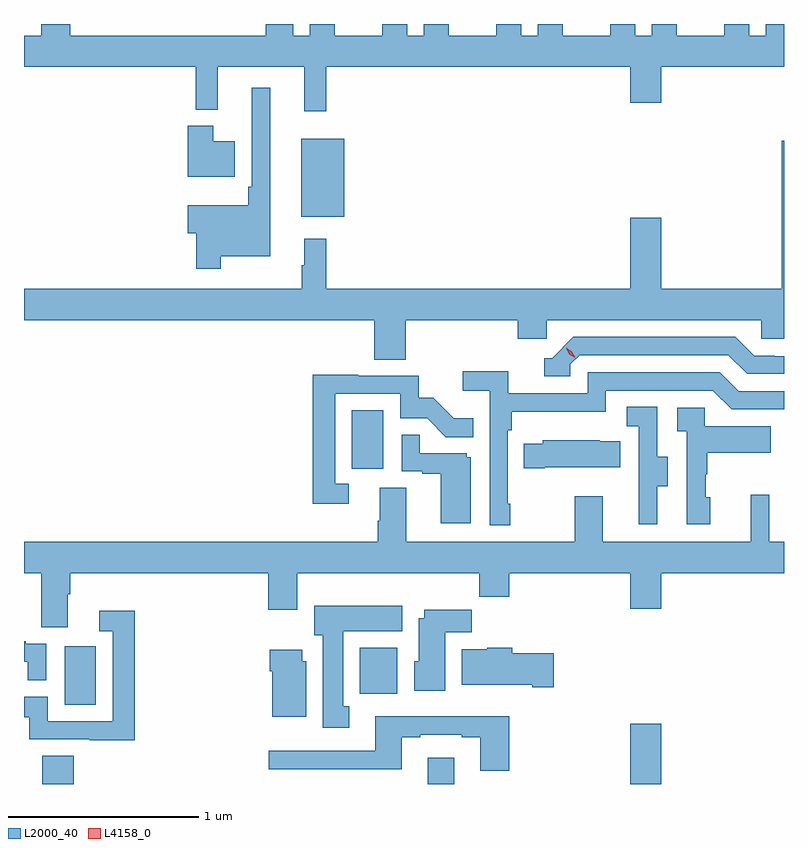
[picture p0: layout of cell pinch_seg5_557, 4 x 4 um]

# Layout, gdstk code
import gdstk
lib = gdstk.Library(unit=1e-6, precision=1e-09)
def R(c, l, rs):  # rectangles x0, y0, x1, y1
    for r in rs: c.add(gdstk.rectangle(r[:2], r[2:], *l))
def P(c, l, *ps):  # polygons
    for p in ps: c.add(gdstk.Polygon(p, *l))
L2000_40 = (2000, 40)
L4158_0 = (4158, 0)

pinch_seg5_557 = lib.new_cell('pinch_seg5_557')
R(pinch_seg5_557, L2000_40, [(977.099,850.322,977.264,850.472), (979.127,850.322,979.267,850.459), (980.192,850.322,980.356,850.639), (977.216,850.74,977.38,851.047), (978.77,850.796,978.967,851.038), (978.728,851.982,978.892,852.289), (978.461,853.307,978.688,853.717)])
P(pinch_seg5_557, L2000_40, [(978.593,854.096),(980.192,854.096),(980.192,853.908),(980.356,853.908),(980.356,854.096),(981.002,854.096),(981.002,854.322),(980.906,854.322),(980.906,854.26),(980.818,854.26),(980.818,854.322),(980.687,854.322),(980.687,854.26),(980.437,854.26),(980.437,854.322),(980.306,854.322),(980.306,854.26),(980.218,854.26),(980.218,854.322),(980.087,854.322),(980.087,854.26),(979.837,854.26),(979.837,854.322),(979.706,854.322),(979.706,854.26),(979.618,854.26),(979.618,854.322),(979.487,854.322),(979.487,854.26),(979.237,854.26),(979.237,854.322),(979.106,854.322),(979.106,854.26),(979.018,854.26),(979.018,854.322),(978.887,854.322),(978.887,854.26),(978.637,854.26),(978.637,854.322),(978.506,854.322),(978.506,854.26),(978.418,854.26),(978.418,854.322),(978.275,854.322),(978.275,854.26),(977.246,854.26),(977.246,854.322),(977.093,854.322),(977.093,854.26),(977.002,854.26),(977.002,854.096),(977.905,854.096),(977.905,853.871),(978.023,853.871),(978.023,854.096),(978.476,854.096),(978.476,853.863),(978.593,853.863)],
  [(978.037,853.1),(978.298,853.1),(978.298,853.987),(978.201,853.987),(978.201,853.465),(978.181,853.465),(978.181,853.369),(977.864,853.369),(977.864,853.222),(977.908,853.222),(977.908,853.035),(978.037,853.035)],
  [(978.112,853.705),(977.998,853.705),(977.998,853.786),(977.864,853.786),(977.864,853.517),(978.112,853.517)],
  [(979.01,852.764),(979.601,852.764),(979.601,852.666),(979.752,852.666),(979.752,852.764),(980.883,852.764),(980.883,852.666),(981.002,852.666),(981.002,853.708),(980.99,853.708),(980.99,852.928),(980.356,852.928),(980.356,853.303),(980.192,853.303),(980.192,852.928),(978.593,852.928),(978.593,853.192),(978.476,853.192),(978.476,853.052),(978.465,853.052),(978.465,852.928),(977.002,852.928),(977.002,852.764),(978.845,852.764),(978.845,852.556),(979.01,852.556)],
  [(979.878,852.531),(979.926,852.579),(980.709,852.579),(980.808,852.48),(981.002,852.48),(981.002,852.573),(980.952,852.573),(980.952,852.576),(980.845,852.576),(980.746,852.675),(979.893,852.675),(979.782,852.564),(979.739,852.564),(979.739,852.468),(979.878,852.468)],
  [(979.561,851.797),(979.548,851.797),(979.548,852.185),(979.568,852.185),(979.568,852.281),(980.064,852.281),(980.064,852.393),(980.628,852.393),(980.727,852.294),(981.002,852.294),(981.002,852.39),(980.764,852.39),(980.665,852.489),(979.968,852.489),(979.968,852.378),(979.55,852.378),(979.55,852.494),(979.311,852.494),(979.311,852.392),(979.452,852.392),(979.452,851.685),(979.561,851.685)],
  [(978.712,851.901),(978.639,851.901),(978.639,852.375),(978.981,852.375),(978.981,852.246),(979.125,852.246),(979.223,852.148),(979.367,852.148),(979.367,852.247),(979.263,852.247),(979.156,852.354),(979.08,852.354),(979.08,852.471),(978.761,852.471),(978.761,852.476),(978.523,852.476),(978.523,851.796),(978.712,851.796)],
  [(980.335,851.89),(980.389,851.89),(980.389,852.045),(980.334,852.045),(980.334,852.308),(980.175,852.308),(980.175,852.205),(980.238,852.205),(980.238,851.901),(980.237,851.901),(980.237,851.688),(980.335,851.688)],
  [(980.614,851.832),(980.589,851.832),(980.589,851.951),(980.599,851.951),(980.599,852.065),(980.933,852.065),(980.933,852.205),(980.586,852.205),(980.586,852.303),(980.439,852.303),(980.439,852.179),(980.49,852.179),(980.49,851.688),(980.614,851.688)],
  [(979.354,852.042),(979.332,852.042),(979.332,852.063),(979.085,852.063),(979.085,852.161),(978.99,852.161),(978.99,851.967),(979.097,851.967),(979.097,851.955),(979.196,851.955),(979.196,851.694),(979.354,851.694)],
  [(979.744,851.99),(980.141,851.99),(980.141,852.127),(980.033,852.127),(980.033,852.13),(979.731,852.13),(979.731,852.112),(979.633,852.112),(979.633,851.983),(979.744,851.983)],
  [(977.233,851.32),(977.246,851.32),(977.246,851.432),(978.287,851.432),(978.287,851.238),(978.439,851.238),(978.439,851.432),(979.399,851.432),(979.399,851.308),(979.556,851.308),(979.556,851.432),(980.192,851.432),(980.192,851.244),(980.356,851.244),(980.356,851.432),(981.002,851.432),(981.002,851.596),(980.925,851.596),(980.925,851.845),(980.828,851.845),(980.828,851.596),(980.047,851.596),(980.047,851.836),(979.9,851.836),(979.9,851.596),(979.015,851.596),(979.015,851.882),(978.875,851.882),(978.875,851.708),(978.863,851.708),(978.863,851.596),(977.002,851.596),(977.002,851.432),(977.093,851.432),(977.093,851.146),(977.233,851.146)],
  [(978.715,850.73),(978.682,850.73),(978.682,851.126),(978.994,851.126),(978.994,851.26),(978.53,851.26),(978.53,851.106),(978.575,851.106),(978.575,850.617),(978.715,850.617)],
  [(979.219,851.12),(979.358,851.12),(979.358,851.239),(979.109,851.239),(979.109,851.194),(979.079,851.194),(979.079,850.968),(979.055,850.968),(979.055,850.814),(979.219,850.814)],
  [(977.585,851.233),(977.397,851.233),(977.397,851.127),(977.469,851.127),(977.469,850.653),(977.127,850.653),(977.127,850.782),(977.002,850.782),(977.002,850.674),(977.029,850.674),(977.029,850.557),(977.347,850.557),(977.347,850.552),(977.585,850.552)],
  [(977.118,851.061),(977.012,851.061),(977.012,851.074),(977.002,851.074),(977.002,850.965),(977.023,850.965),(977.023,850.867),(977.118,850.867)],
  [(979.789,851.01),(979.571,851.01),(979.571,851.038),(979.44,851.038),(979.44,851.032),(979.307,851.032),(979.307,850.844),(979.676,850.844),(979.676,850.832),(979.789,850.832)],
  [(978.487,850.968),(978.466,850.968),(978.466,851.029),(978.296,851.029),(978.296,850.916),(978.308,850.916),(978.308,850.676),(978.487,850.676)],
  [(979.556,850.678),(978.851,850.678),(978.851,850.497),(978.291,850.497),(978.291,850.4),(978.991,850.4),(978.991,850.569),(979.087,850.569),(979.087,850.581),(979.307,850.581),(979.307,850.569),(979.403,850.569),(979.403,850.392),(979.556,850.392)])
P(pinch_seg5_557, L4158_0, [(979.902,852.565),(979.872,852.585),(979.855,852.618),(979.855,852.618),(979.856,852.618),(979.886,852.598),(979.902,852.565),(979.902,852.565)])

lib.write_gds('pinch_seg5_557.gds')
